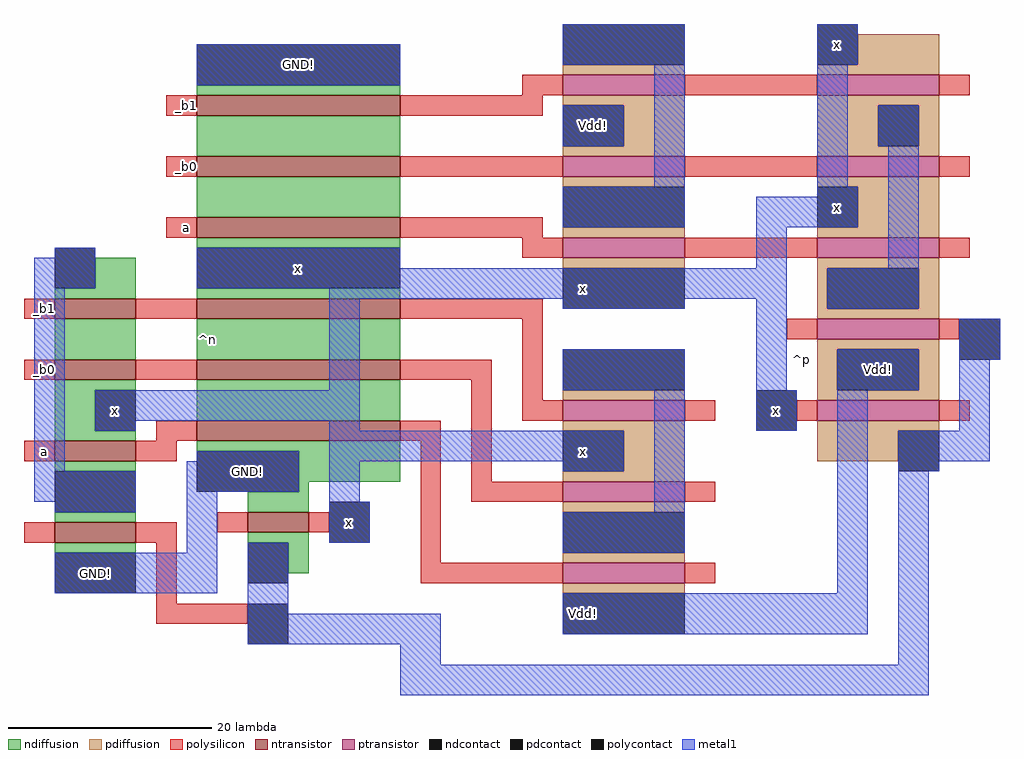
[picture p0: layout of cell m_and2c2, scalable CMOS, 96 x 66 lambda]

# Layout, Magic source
magic
tech scmos
<< ndiffusion >>
rect 22 110 42 111
rect 22 104 42 108
rect 22 98 42 102
rect 22 95 42 96
rect 12 91 16 94
rect 8 90 16 91
rect 22 90 42 91
rect 8 84 16 88
rect 22 84 42 88
rect 8 81 16 82
rect 8 77 12 81
rect 22 78 42 82
rect 8 76 16 77
rect 22 75 42 76
rect 8 73 16 74
rect 32 72 42 75
rect 32 71 33 72
rect 27 69 33 71
rect 8 68 16 69
rect 8 65 16 66
rect 27 66 33 67
rect 31 63 33 66
<< pdiffusion >>
rect 58 112 70 113
rect 87 113 95 116
rect 83 112 95 113
rect 58 109 70 110
rect 64 105 70 109
rect 58 104 70 105
rect 83 109 95 110
rect 83 105 89 109
rect 93 105 95 109
rect 83 104 95 105
rect 58 101 70 102
rect 58 96 70 97
rect 83 101 95 102
rect 87 97 95 101
rect 83 96 95 97
rect 58 93 70 94
rect 83 93 95 94
rect 83 89 84 93
rect 93 89 95 93
rect 83 88 95 89
rect 83 85 95 86
rect 83 81 85 85
rect 93 81 95 85
rect 58 80 70 81
rect 58 77 70 78
rect 83 80 95 81
rect 83 77 95 78
rect 64 73 70 77
rect 83 74 91 77
rect 58 72 70 73
rect 58 69 70 70
rect 58 64 70 65
rect 58 61 70 62
<< ntransistor >>
rect 22 108 42 110
rect 22 102 42 104
rect 22 96 42 98
rect 8 88 16 90
rect 22 88 42 90
rect 8 82 16 84
rect 22 82 42 84
rect 22 76 42 78
rect 8 74 16 76
rect 8 66 16 68
rect 27 67 33 69
<< ptransistor >>
rect 58 110 70 112
rect 83 110 95 112
rect 58 102 70 104
rect 83 102 95 104
rect 58 94 70 96
rect 83 94 95 96
rect 83 86 95 88
rect 58 78 70 80
rect 83 78 95 80
rect 58 70 70 72
rect 58 62 70 64
<< polysilicon >>
rect 54 110 58 112
rect 70 110 83 112
rect 95 110 98 112
rect 19 108 22 110
rect 42 108 56 110
rect 19 102 22 104
rect 42 102 58 104
rect 70 102 83 104
rect 95 102 98 104
rect 19 96 22 98
rect 42 96 56 98
rect 54 94 58 96
rect 70 94 83 96
rect 95 94 98 96
rect 5 88 8 90
rect 16 88 22 90
rect 42 88 56 90
rect 5 82 8 84
rect 16 82 22 84
rect 42 82 51 84
rect 18 76 22 78
rect 42 76 46 78
rect 5 74 8 76
rect 16 74 20 76
rect 5 66 8 68
rect 16 66 20 68
rect 24 67 27 69
rect 33 67 35 69
rect 18 60 20 66
rect 44 64 46 76
rect 49 72 51 82
rect 54 80 56 88
rect 80 86 83 88
rect 95 86 97 88
rect 54 78 58 80
rect 70 78 73 80
rect 81 78 83 80
rect 95 78 98 80
rect 49 70 58 72
rect 70 70 73 72
rect 44 62 58 64
rect 70 62 73 64
rect 18 58 27 60
<< ndcontact >>
rect 22 111 42 115
rect 8 91 12 95
rect 22 91 42 95
rect 12 77 16 81
rect 8 69 16 73
rect 22 71 32 75
rect 8 61 16 65
rect 27 62 31 66
<< pdcontact >>
rect 58 113 70 117
rect 83 113 87 117
rect 58 105 64 109
rect 89 105 93 109
rect 58 97 70 101
rect 83 97 87 101
rect 58 89 70 93
rect 84 89 93 93
rect 58 81 70 85
rect 85 81 93 85
rect 58 73 64 77
rect 91 73 95 77
rect 58 65 70 69
rect 58 57 70 61
<< polycontact >>
rect 35 66 39 70
rect 97 84 101 88
rect 77 77 81 81
rect 27 56 31 60
<< metal1 >>
rect 22 111 42 115
rect 58 113 70 117
rect 58 105 64 109
rect 67 101 70 113
rect 58 97 70 101
rect 83 113 87 117
rect 83 101 86 113
rect 89 105 93 109
rect 83 100 87 101
rect 77 97 87 100
rect 8 94 12 95
rect 6 91 12 94
rect 22 93 42 95
rect 77 93 80 97
rect 90 93 93 105
rect 22 91 80 93
rect 6 73 9 91
rect 35 90 80 91
rect 35 81 38 90
rect 58 89 70 90
rect 58 81 70 85
rect 12 78 38 81
rect 12 77 16 78
rect 35 77 38 78
rect 22 74 32 75
rect 6 70 16 73
rect 8 69 16 70
rect 21 71 32 74
rect 35 74 64 77
rect 21 65 24 71
rect 35 70 38 74
rect 58 73 64 74
rect 35 66 39 70
rect 67 69 70 81
rect 77 81 80 90
rect 84 89 93 93
rect 85 81 93 85
rect 97 84 101 88
rect 77 77 81 81
rect 8 61 24 65
rect 27 59 31 66
rect 58 65 70 69
rect 85 61 88 81
rect 97 77 100 84
rect 27 56 46 59
rect 58 57 88 61
rect 91 74 100 77
rect 91 73 95 74
rect 42 54 46 56
rect 91 54 94 73
rect 42 51 94 54
<< labels >>
rlabel polysilicon 21 109 21 109 1 _b1
rlabel polysilicon 21 103 21 103 1 _b0
rlabel polysilicon 21 97 21 97 1 a
rlabel space 6 56 40 116 7 ^n
rlabel polysilicon 7 89 7 89 1 _b1
rlabel polysilicon 7 83 7 83 1 _b0
rlabel polysilicon 7 75 7 75 1 a
rlabel space 63 50 100 118 3 ^p
rlabel ndcontact 27 73 27 73 1 GND!
rlabel ndcontact 32 93 32 93 1 x
rlabel ndcontact 32 113 32 113 1 GND!
rlabel ndcontact 14 79 14 79 1 x
rlabel polycontact 37 68 37 68 1 x
rlabel pdcontact 60 91 60 91 1 x
rlabel pdcontact 60 75 60 75 1 x
rlabel pdcontact 60 59 60 59 1 Vdd!
rlabel polycontact 79 79 79 79 1 x
rlabel pdcontact 85 115 85 115 5 x
rlabel pdcontact 85 99 85 99 1 x
rlabel pdcontact 89 83 89 83 1 Vdd!
rlabel pdcontact 61 107 61 107 1 Vdd!
rlabel ndcontact 12 63 12 63 1 GND!
<< end >>
